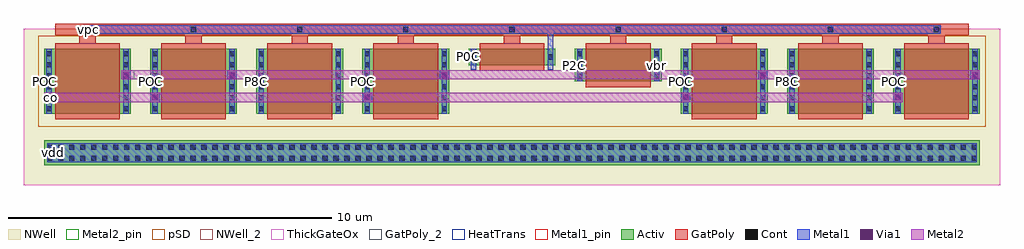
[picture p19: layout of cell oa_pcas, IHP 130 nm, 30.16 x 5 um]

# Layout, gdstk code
import gdstk
lib = gdstk.Library(unit=1e-6, precision=1e-09)
def R(c, l, rs):  # rectangles x0, y0, x1, y1
    for r in rs: c.add(gdstk.rectangle(r[:2], r[2:], *l))
def A(c, l, x, y, w, h, nx, ny, dx, dy):  # array of equal rectangles
    R(c, l, [(x+i*dx, y+j*dy, x+i*dx+w, y+j*dy+h) for i in range(nx) for j in range(ny)])
Activ = (1, 0)
GatPoly = (5, 0)
GatPoly_2 = (5, 2)
Cont = (6, 0)
Metal1 = (8, 0)
Metal1_pin = (8, 2)
Metal2 = (10, 0)
Metal2_pin = (10, 2)
pSD = (14, 0)
Via1 = (19, 0)
NWell = (31, 0)
NWell_2 = (31, 2)
ThickGateOx = (44, 0)
HeatTrans = (51, 0)

pmoshv_10 = lib.new_cell('pmosHV$10')
R(pmoshv_10, Activ, [(0,0,0.3,0.3), (0,0,2.68,2), (2.38,0,2.68,0.3)])
R(pmoshv_10, GatPoly, [(0.34,-0.18,2.34,2.18)])
R(pmoshv_10, GatPoly_2, [(0.34,-0.18,2.34,2.18)])
A(pmoshv_10, Cont, 0.07, 0.07, 0.16, 0.16, 1, 6, 0, 0.34)
A(pmoshv_10, Cont, 2.45, 0.07, 0.16, 0.16, 1, 6, 0, 0.34)
R(pmoshv_10, Metal1, [(0.07,0,0.23,2), (2.45,0,2.61,2)])
R(pmoshv_10, Metal1_pin, [(0.07,0,0.23,2), (2.45,0,2.61,2)])
R(pmoshv_10, pSD, [(-0.18,-0.4,2.86,2.4)])
R(pmoshv_10, NWell, [(-0.62,-0.62,3.3,2.62)])
R(pmoshv_10, ThickGateOx, [(-0.62,-0.62,3.3,2.62)])
R(pmoshv_10, HeatTrans, [(0.34,-0.18,2.34,2.18)])
pmoshv_10.add(gdstk.Label('pmosHV', (1.34,1), layer=63, texttype=0))
pmoshv_10.add(gdstk.Label('pmos', (1.34,1), layer=51, texttype=0))

pmoshv_11 = lib.new_cell('pmosHV$11')
R(pmoshv_11, Activ, [(0,0,0.3,0.3), (0,0,2.68,0.5), (2.38,0,2.68,0.3)])
R(pmoshv_11, GatPoly, [(0.34,-0.18,2.34,0.68)])
R(pmoshv_11, GatPoly_2, [(0.34,-0.18,2.34,0.68)])
R(pmoshv_11, Cont, [(0.07,0.17,0.23,0.33), (2.45,0.17,2.61,0.33)])
R(pmoshv_11, Metal1, [(0.07,0,0.23,0.5), (2.45,0,2.61,0.5)])
R(pmoshv_11, Metal1_pin, [(0.07,0,0.23,0.5), (2.45,0,2.61,0.5)])
R(pmoshv_11, pSD, [(-0.18,-0.4,2.86,0.9)])
R(pmoshv_11, NWell, [(-0.62,-0.62,3.3,1.12)])
R(pmoshv_11, ThickGateOx, [(-0.62,-0.62,3.3,1.12)])
R(pmoshv_11, HeatTrans, [(0.34,-0.18,2.34,0.68)])
pmoshv_11.add(gdstk.Label('pmosHV', (1.34,0.25), layer=63, texttype=0))
pmoshv_11.add(gdstk.Label('pmos', (1.34,0.25), layer=51, texttype=0))

pmoshv_12 = lib.new_cell('pmosHV$12')
R(pmoshv_12, Activ, [(0,0,0.3,0.3), (0,0,2.68,1), (2.38,0,2.68,0.3)])
R(pmoshv_12, GatPoly, [(0.34,-0.18,2.34,1.18)])
R(pmoshv_12, GatPoly_2, [(0.34,-0.18,2.34,1.18)])
A(pmoshv_12, Cont, 0.07, 0.07, 0.16, 0.16, 1, 3, 0, 0.35)
A(pmoshv_12, Cont, 2.45, 0.07, 0.16, 0.16, 1, 3, 0, 0.35)
R(pmoshv_12, Metal1, [(0.07,0,0.23,1), (2.45,0,2.61,1)])
R(pmoshv_12, Metal1_pin, [(0.07,0,0.23,1), (2.45,0,2.61,1)])
R(pmoshv_12, pSD, [(-0.18,-0.4,2.86,1.4)])
R(pmoshv_12, NWell, [(-0.62,-0.62,3.3,1.62)])
R(pmoshv_12, ThickGateOx, [(-0.62,-0.62,3.3,1.62)])
R(pmoshv_12, HeatTrans, [(0.34,-0.18,2.34,1.18)])
pmoshv_12.add(gdstk.Label('pmosHV', (1.34,0.5), layer=63, texttype=0))
pmoshv_12.add(gdstk.Label('pmos', (1.34,0.5), layer=51, texttype=0))

ntap1_13 = lib.new_cell('ntap1$13')
R(ntap1_13, Activ, [(0,0,28.92,0.78)])
A(ntap1_13, Cont, 0.1, 0.14, 0.16, 0.16, 85, 2, 0.34, 0.34)
R(ntap1_13, Metal1, [(0.1,0.09,28.82,0.69)])
R(ntap1_13, Metal1_pin, [(0.1,0.09,28.82,0.69), (0.1,0.14,28.82,0.64)])
R(ntap1_13, NWell, [(-0.24,-0.24,29.16,1.02), (0,0,28.92,0.78)])
R(ntap1_13, NWell_2, [(0,0,28.92,0.78)])
ntap1_13.add(gdstk.Label('well', (14.46,0.01), layer=63, texttype=0))
ntap1_13.add(gdstk.Label('well', (14.46,0.01), layer=31, texttype=0))

oa_pcas = lib.new_cell('oa_pcas')
A(oa_pcas, GatPoly, 1.09, 2, 0.5, 0.43, 9, 1, 3.28, 0)
R(oa_pcas, GatPoly, [(0.34,2.42,28.58,2.78)])
A(oa_pcas, Cont, 1.26, 2.52, 0.16, 0.16, 9, 1, 3.28, 0)
R(oa_pcas, Metal1, [(0.005,0.355,0.295,0.645), (3.285,0.355,3.575,0.645), (9.845,0.355,10.135,0.645), (19.685,0.355,19.975,0.645), (26.245,0.355,26.535,0.645), (2.385,1.055,2.675,1.345), (5.665,1.055,5.955,1.345), (12.225,1.055,12.515,1.345), (22.065,1.055,22.355,1.345), (28.625,1.055,28.915,1.345), (13.19,1.35,13.35,2), (15.57,1.35,15.73,2), (15.57,1.95,15.73,2.6), (1.21,2.47,27.71,2.73)])
R(oa_pcas, Metal1_pin, [(0.1,-1.51,0.5,-0.91), (6.63,0.75,6.79,1.25), (9.01,0.75,9.17,1.25), (23.03,0.75,23.19,1.25), (25.41,0.75,25.57,1.25), (16.47,1.25,16.63,1.75), (18.85,1.25,19.01,1.75), (13.19,1.5,13.35,2), (1.21,2.47,1.51,2.73)])
R(oa_pcas, Metal2, [(0.005,0.355,26.535,0.645), (2.385,1.055,28.915,1.345)])
R(oa_pcas, Metal2_pin, [(0.005,0.355,0.4,0.645), (2.385,1.055,2.78,1.345)])
R(oa_pcas, pSD, [(-0.18,-0.4,29.1,2.4)])
R(oa_pcas, Via1, [(0.055,0.405,0.245,0.595), (3.335,0.405,3.525,0.595), (9.895,0.405,10.085,0.595), (19.735,0.405,19.925,0.595), (26.295,0.405,26.485,0.595), (2.435,1.105,2.625,1.295), (5.715,1.105,5.905,1.295), (12.275,1.105,12.465,1.295), (22.115,1.105,22.305,1.295), (28.675,1.105,28.865,1.295)])
R(oa_pcas, NWell, [(-0.62,-2.22,29.54,2.62)])
R(oa_pcas, ThickGateOx, [(-0.62,-2.22,29.54,2.62)])
oa_pcas.add(gdstk.Reference(pmoshv_10, (0,0)))
oa_pcas.add(gdstk.Reference(pmoshv_10, (3.28,0)))
oa_pcas.add(gdstk.Reference(pmoshv_10, (6.56,0)))
oa_pcas.add(gdstk.Reference(pmoshv_10, (9.84,0)))
oa_pcas.add(gdstk.Reference(pmoshv_11, (13.12,1.5)))
oa_pcas.add(gdstk.Reference(pmoshv_12, (16.4,1)))
oa_pcas.add(gdstk.Reference(pmoshv_10, (19.68,0)))
oa_pcas.add(gdstk.Reference(pmoshv_10, (22.96,0)))
oa_pcas.add(gdstk.Reference(pmoshv_10, (26.24,0)))
oa_pcas.add(gdstk.Reference(ntap1_13, (0,-1.6)))
oa_pcas.add(gdstk.Label('POC', (0,1), layer=63, texttype=0))
oa_pcas.add(gdstk.Label('POC', (3.28,1), layer=63, texttype=0))
oa_pcas.add(gdstk.Label('P8C', (6.56,1), layer=63, texttype=0))
oa_pcas.add(gdstk.Label('POC', (9.84,1), layer=63, texttype=0))
oa_pcas.add(gdstk.Label('P0C', (13.12,1.75), layer=63, texttype=0))
oa_pcas.add(gdstk.Label('P2C', (16.4,1.5), layer=63, texttype=0))
oa_pcas.add(gdstk.Label('POC', (19.68,1), layer=63, texttype=0))
oa_pcas.add(gdstk.Label('P8C', (22.96,1), layer=63, texttype=0))
oa_pcas.add(gdstk.Label('POC', (26.24,1), layer=63, texttype=0))
oa_pcas.add(gdstk.Label('vpc', (1.36,2.6), layer=8, texttype=25))
oa_pcas.add(gdstk.Label('vdd', (0.3,-1.21), layer=8, texttype=25))
oa_pcas.add(gdstk.Label('c8', (6.71,1), layer=8, texttype=25))
oa_pcas.add(gdstk.Label('vnc', (9.09,1), layer=8, texttype=25))
oa_pcas.add(gdstk.Label('vpg', (13.27,1.75), layer=8, texttype=25))
oa_pcas.add(gdstk.Label('c2', (16.55,1.5), layer=8, texttype=25))
oa_pcas.add(gdstk.Label('vbr', (18.93,1.5), layer=8, texttype=25))
oa_pcas.add(gdstk.Label('c8', (23.11,1), layer=8, texttype=25))
oa_pcas.add(gdstk.Label('vnc', (25.49,1), layer=8, texttype=25))
oa_pcas.add(gdstk.Label('co', (0.2,0.5), layer=10, texttype=25))
oa_pcas.add(gdstk.Label('iout', (2.585,1.2), layer=10, texttype=25))

lib.write_gds('oa_pcas.gds')
